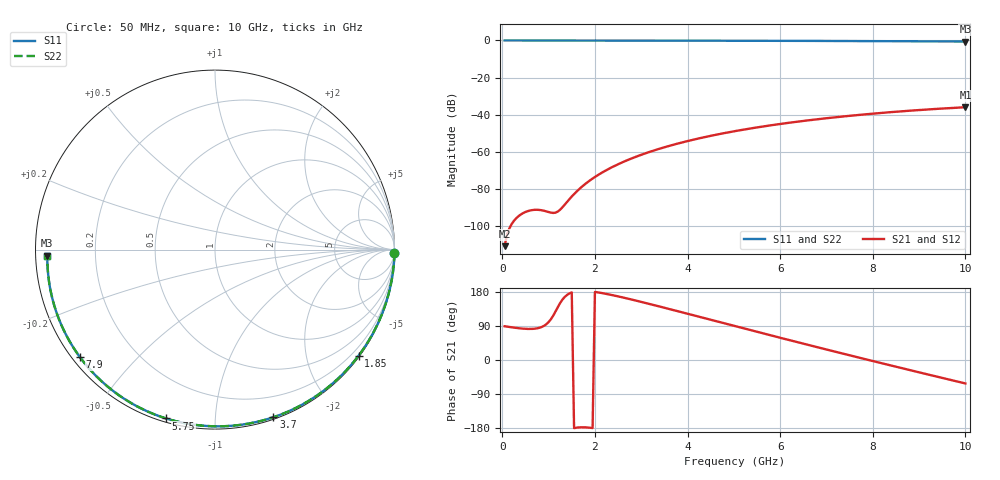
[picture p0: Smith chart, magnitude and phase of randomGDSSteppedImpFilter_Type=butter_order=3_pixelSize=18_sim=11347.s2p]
! freq	dB(S11)	phase(S11)	dB(S12)	phase(S12)
!  dB(S21)	phase(S21)	dB(S22)	phase(S22)
!S-par simulation data
#  GHz  S  DB  R 50
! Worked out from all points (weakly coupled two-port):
!   200 points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, 50 MHz to 10 GHz, reference 50 ohm
!   highest |S21| = -35.98 dB at 10 GHz (marker M1); lowest = -110.8 dB at 50 MHz (marker M2)
!   lowest |S11| = -0.6 dB at 10 GHz (marker M3), VSWR 29.56, Z = 1.69 - j0.888 ohm
!   |S11| at or under -10 dB: nowhere
!   |S22| runs from -0.6 to 0.0 dB; largest |S21 - S12| = 0
!   S11 on the Smith chart (normalised r, x): 50 MHz: open; 1.85 GHz: 0.03, -3.04; 3.7 GHz: 0.02, -1.41; 5.75 GHz: 0.02, -0.75; 7.9 GHz: 0.02, -0.35; 10 GHz: 0.03, -0.02
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0.05  -0.00 -1.0  -110.82 89.1  -110.82 89.1  -0.00 -1.0
0.45  -0.01 -9.0  -93.00 82.7  -93.00 82.7  -0.01 -9.0
0.85  -0.02 -17.0  -91.48 87.1  -91.48 87.1  -0.02 -16.9
1.25  -0.03 -24.8  -91.15 150.6  -91.15 150.6  -0.03 -24.8
1.65  -0.04 -32.6  -80.31 -177.9  -80.31 -177.9  -0.04 -32.6
1.75  -0.04 -34.5  -78.14 -177.6  -78.14 -177.6  -0.04 -34.5
1.85  -0.05 -36.4  -76.17 -178.2  -76.17 -178.2  -0.05 -36.4
2.15  -0.05 -42.2  -71.24 176.7  -71.24 176.7  -0.05 -42.2
2.5  -0.06 -48.8  -66.70 167.9  -66.70 167.9  -0.06 -48.8
2.9  -0.07 -56.2  -62.52 156.4  -62.52 156.4  -0.07 -56.2
3.4  -0.09 -65.4  -58.29 141.0  -58.29 141.0  -0.09 -65.4
3.7  -0.10 -70.8  -56.14 131.6  -56.14 131.6  -0.10 -70.8
4.35  -0.12 -82.3  -52.18 110.9  -52.18 110.9  -0.12 -82.3
5.05  -0.15 -94.3  -48.73 88.7  -48.73 88.7  -0.15 -94.3
5.75  -0.18 -106.1  -45.89 66.5  -45.89 66.5  -0.18 -106.1
6.2  -0.21 -113.6  -44.31 52.4  -44.31 52.4  -0.21 -113.6
6.7  -0.24 -121.8  -42.75 36.9  -42.75 36.9  -0.24 -121.8
7.3  -0.29 -131.6  -41.10 18.5  -41.10 18.5  -0.29 -131.6
7.9  -0.34 -141.5  -39.66 0.3  -39.66 0.3  -0.34 -141.5
8.35  -0.38 -149.0  -38.70 -13.2  -38.70 -13.2  -0.38 -149.0
9.2  -0.48 -163.6  -37.15 -38.5  -37.15 -38.5  -0.48 -163.5
10  -0.59 -178.0  -35.98 -61.9  -35.98 -61.9  -0.59 -177.9
